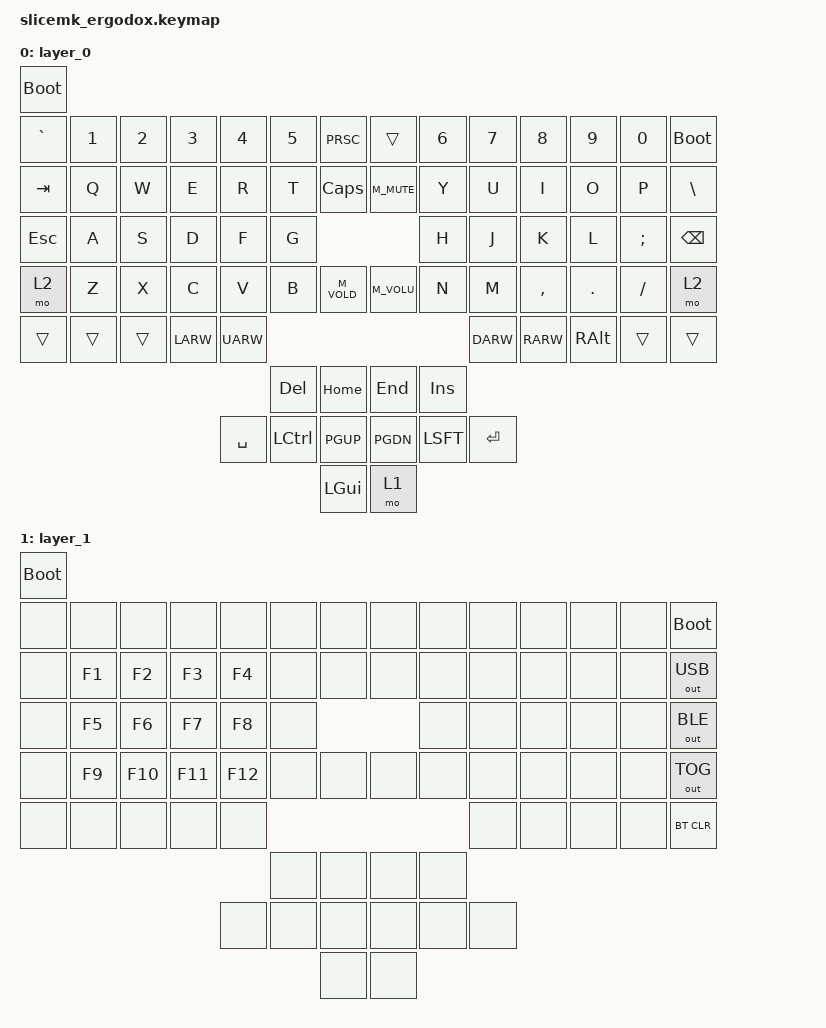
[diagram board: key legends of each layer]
/*
 * Copyright (c) 2020 The ZMK Contributors
 *
 * SPDX-License-Identifier: MIT
 */

#include <behaviors.dtsi>
#include <dt-bindings/zmk/keys.h>
#include <dt-bindings/zmk/bt.h>
#include <dt-bindings/zmk/outputs.h>

/ {
	keymap {
		compatible = "zmk,keymap";
		layer_0 {
			bindings = <
	&bootloader
	&kp GRAV   &kp NUM_1  &kp NUM_2  &kp NUM_3  &kp NUM_4  &kp NUM_5  &kp PRSC   &trans     &kp NUM_6  &kp NUM_7  &kp NUM_8  &kp NUM_9  &kp NUM_0  &bootloader
	&kp TAB    &kp Q      &kp W      &kp E      &kp R      &kp T      &kp CLCK   &kp M_MUTE &kp Y      &kp U      &kp I      &kp O      &kp P      &kp BSLH
	&kp ESC    &kp A      &kp S      &kp D      &kp F      &kp G                            &kp H      &kp J      &kp K      &kp L      &kp SCLN   &kp BKSP
	&mo 2      &kp Z      &kp X      &kp C      &kp V      &kp B      &kp M_VOLD &kp M_VOLU &kp N      &kp M      &kp CMMA   &kp DOT    &kp FSLH   &mo 2
	&trans     &trans     &trans     &kp LARW   &kp UARW                                               &kp DARW   &kp RARW   &kp RALT   &trans     &trans
	                                                       &kp DEL    &kp HOME   &kp END    &kp INS
	                                            &kp SPC    &kp LCTL   &kp PGUP   &kp PGDN   &kp LSFT   &kp RET
	                                                                  &kp LGUI   &mo 1
			>;
		};
		layer_1 {
			bindings = <
	&bootloader
	&none      &none      &none      &none      &none      &none      &none      &none      &none      &none      &none      &none      &none      &bootloader
	&none      &kp F1     &kp F2     &kp F3     &kp F4     &none      &none      &none      &none      &none      &none      &none      &none      &out OUT_USB
	&none      &kp F5     &kp F6     &kp F7     &kp F8     &none                            &none      &none      &none      &none      &none      &out OUT_BLE
	&none      &kp F9     &kp F10    &kp F11    &kp F12    &none      &none      &none      &none      &none      &none      &none      &none      &out OUT_TOG
	&none      &none      &none      &none      &none                                                  &none      &none      &none      &none      &bt BT_CLR
	                                                       &none      &none      &none      &none
	                                            &none      &none      &none      &none      &none      &none
	                                                                  &none      &none
			>;
		};
	};
};
